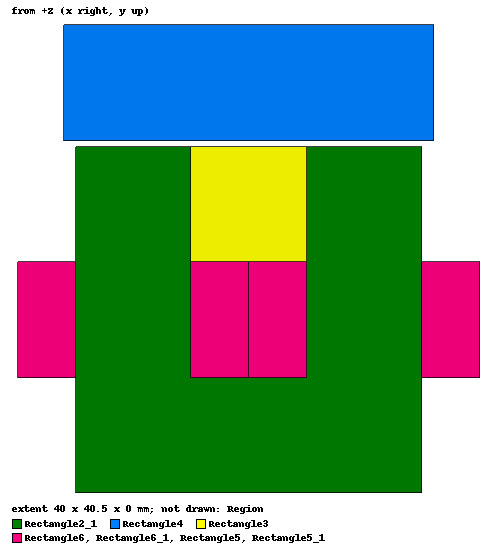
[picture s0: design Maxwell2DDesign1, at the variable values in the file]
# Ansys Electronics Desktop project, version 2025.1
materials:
  vacuum: permittivity=1
  N50M_Y+: permittivity=1 permeability=1.0917875 conductivity=625000 magnetic_coercivity{Magnitude=-1035000A_per_meter DirComp1=1 DirComp2=0 DirComp3=0} lande_g_factor=2
  copper: permeability=0.999991 conductivity=58000000
  steel_1008: permeability{HUnit=A_per_meter BUnit=tesla curve (0, 0) (159.2, 0.2402) (318.3, 0.8654) (477.5, 1.1106) (636.6, 1.2458) (795.8, 1.331) (1591.5, 1.5) (3183.1, 1.6) (4774.6, 1.683) (6366.2, 1.741) (7957.7, 1.78) (15915.5, 1.905) (31831, 2.025) (47746.5, 2.085) (63662, 2.13) (79577.5, 2.165) (159155, 2.28) (318310, 2.485) (397887, 2.5851)} conductivity=2000000
  DW310_35: permeability{HUnit=A_per_meter BUnit=tesla curve (0, 0) (58, 0.4) (60, 0.45) (62, 0.5) (64, 0.55) (68, 0.6) (72, 0.65) (75, 0.7) (78, 0.75) (84, 0.8) (92, 0.85) (100, 0.9) (107, 0.95) (116, 1) (127, 1.05) (143, 1.1) (167, 1.15) (197, 1.2) (239, 1.25) (303, 1.3) (422, 1.35) (597, 1.4) (955, 1.45) (1592, 1.5) (2389, 1.55) (3462, 1.6) (5096, 1.65) (6529, 1.7) (8262, 1.75) (10988, 1.8) (14730, 1.85) (18313, 1.9) (23090, 1.95) (30892, 2) (47771, 2.05) (74045, 2.1)} core_loss_type="Electrical Steel" core_loss_kh=179 core_loss_kc=0.403 mass_density=7650

design Maxwell2DDesign1 (Maxwell 2D, Magnetostatic, XY geometry, model units mm)
options: ModelDepth=1meter
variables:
  a2 = 10mm
  a1 = 10mm
  a3 = 0mm
  a4 = 0.5mm
  NI = 0
  I = 500A
  delta_y = 0mm
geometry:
  Rectangle1 = rectangle(corner=(a2/2, 0mm, 0mm), x_size=a1, y_size=-a3-3*a1)
  Rectangle2 = rectangle(corner=(0mm, -a3-3*a1, 0mm), x_size=a2/2, y_size=a1)
  Rectangle2.unite(Rectangle1)
  Rectangle3 [N50M_Y+] = rectangle(corner=(a2/2, 0mm, 0mm), x_size=-a2, y_size=-a1)
  Rectangle2_1 [DW310_35] = Rectangle2.duplicate_mirror(point=(0mm, -20mm, 0mm), normal=(-1mm, 0mm, 0mm))
  Rectangle2_1.unite(Rectangle2)
  Rectangle3_1 = Rectangle3.duplicate_mirror(point=(0mm, -4mm, 0mm), normal=(-1mm, 0mm, 0mm))
  Rectangle3.unite(Rectangle3_1)
  Rectangle4 [DW310_35] = rectangle(corner=(-(2*a1+a2+0.2*a1)/2, a4, 0mm), x_size=2*a1+a2+0.2*a1, y_size=a1)
  Rectangle5 [copper] = rectangle(corner=(0mm, -a3-a1, 0mm), x_size=-a2/2, y_size=-a1)
  Rectangle5_1 [copper] = Rectangle5.duplicate_mirror(point=(0mm, -20mm, 0mm), normal=(-1mm, 0mm, 0mm))
  Rectangle6 [copper] = rectangle(corner=(a2/2+a1, -a3-a1, 0mm), x_size=a2/2, y_size=-a1)
  Rectangle6_1 [copper] = Rectangle6.duplicate_mirror(point=(0mm, -10mm, 0mm), normal=(-1mm, 0mm, 0mm))
  Region [vacuum] = region(percentage_offset: +X=100, -X=100, +Y=100, -Y=100, +Z=0, -Z=0)
  Rectangle4.move(0mm, delta_y, 0mm)
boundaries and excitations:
  VectorPotential1: Vector Potential Edges=Region.edge(all 4) Value=0
  Current1: Current Objects=Rectangle6 Current=I IsPositive=true
  Current2: Current Objects=Rectangle5_1 Current=I IsPositive=false
  Current3: Current Objects=Rectangle5 Current=I IsPositive=false
  Current4: Current Objects=Rectangle6_1 Current=I IsPositive=true
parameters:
  Force1: Force Reference_CS=Global Objects=Rectangle4
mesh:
  Length1: LengthBased RefineInside Objects=Rectangle4 MaxLength=3.2mm
  Length2: LengthBased RefineInside Objects=Rectangle3 MaxLength=1mm
  Length3: LengthBased RefineInside Objects=Rectangle2_1 MaxLength=3mm
  Length4: LengthBased RefineInside Objects=Rectangle5 MaxLength=1mm
  Length5: LengthBased RefineInside Objects=Rectangle6_1 MaxLength=1mm
  Length6: LengthBased RefineInside Objects=Rectangle5_1 MaxLength=1mm
  Length7: LengthBased RefineInside Objects=Rectangle6 MaxLength=1mm
  Length8: LengthBased RefineInside Objects=Region MaxLength=12.15mm
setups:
  Setup1: Magnetostatic MaximumPasses=10 MinimumPasses=2 MinimumConvergedPasses=1 PercentRefinement=30 PercentError=0.2 NonLinearResidual=0.0001
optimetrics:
  ParametricSetup1: Parametric Sim._Setups=[Setup1]
    sweep a1: LIN 10mm 30mm 5mm
    sweep a2: LIN 10mm 30mm 5mm
    sweep a3: LIN 0mm 4mm 1mm
    sweep a4: LIN 0.5mm 1mm 0.1mm
    sweep I: LIN 500A 2500A 500A
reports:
  Force Table1: Force1.Force_y vs I on Setup1 : LastAdaptive
